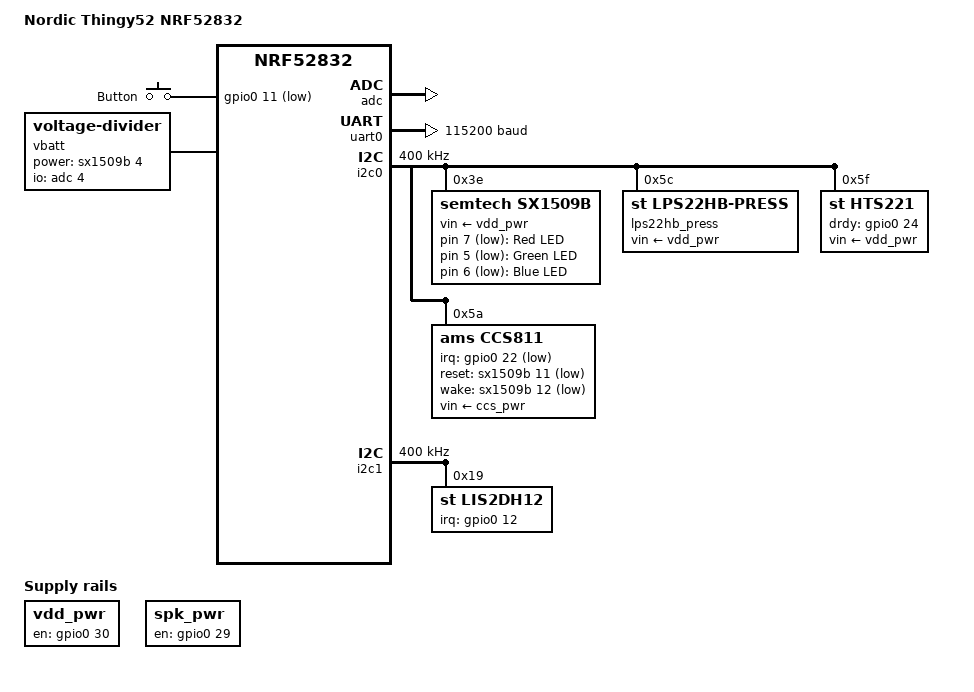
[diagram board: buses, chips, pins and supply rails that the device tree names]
/*
 * Copyright (c) 2017 Shawn Nock <shawn@monadnock.ca>
 * Copyright (c) 2017 Linaro Limited
 * Copyright (c) 2018 Aapo Vienamo
 *
 * SPDX-License-Identifier: Apache-2.0
 */

/dts-v1/;
#include <nordic/nrf52832_qfaa.dtsi>
#include "thingy52_nrf52832-pinctrl.dtsi"

/ {
	model = "Nordic Thingy52 NRF52832";
	compatible = "nordic,thingy52-nrf52832";

	chosen {
		zephyr,console = &uart0;
		zephyr,shell-uart = &uart0;
		zephyr,bt-mon-uart = &uart0;
		zephyr,bt-c2h-uart = &uart0;
		zephyr,sram = &sram0;
		zephyr,flash = &flash0;
		zephyr,code-partition = &slot0_partition;
	};

	/* These aliases are provided for compatibility with samples */
	aliases {
		led0 = &led0;
		led1 = &led1;
		led2 = &led2;
		sw0 = &button0;
		watchdog0 = &wdt0;
		accel0 = &lis2dh12;
	};

	leds {
		compatible = "gpio-leds";
		/* Lightwell RGB */
		led0: led_0 {
			gpios = <&sx1509b 7 GPIO_ACTIVE_LOW>;
			label = "Red LED";
			//vin-supply = <&vdd_pwr>;
		};
		led1: led_1 {
			gpios = <&sx1509b 5 GPIO_ACTIVE_LOW>;
			label = "Green LED";
			//vin-supply = <&vdd_pwr>;
		};
		led2: led_2 {
			gpios = <&sx1509b 6 GPIO_ACTIVE_LOW>;
			label = "Blue LED";
			//vin-supply = <&vdd_pwr>;
		};
	};

	buttons {
		compatible = "gpio-keys";
		button0: button_0 {
			/* gpio flags need validation */
			gpios = <&gpio0 11 (GPIO_PULL_UP | GPIO_ACTIVE_LOW)>;
			label = "Button";
		};
	};

	vbatt {
		compatible = "voltage-divider";
		io-channels = <&adc 4>;
		output-ohms = <180000>;
		full-ohms = <(1500000 + 180000)>;
		power-gpios = <&sx1509b 4 0>;
	};

	vdd_pwr: vdd-pwr-ctrl {
		compatible = "regulator-fixed-sync", "regulator-fixed";
		regulator-name = "vdd-pwr-ctrl";
		enable-gpios = <&gpio0 30 GPIO_ACTIVE_HIGH>;
		regulator-boot-on;
		startup-delay-us = <1000>;
	};

	spk_pwr: spk-pwr-ctrl {
		compatible = "regulator-fixed-sync", "regulator-fixed";
		regulator-name = "spk-pwr-ctrl";
		enable-gpios = <&gpio0 29 GPIO_ACTIVE_HIGH>;
	};

	mpu_pwr: mpu-pwr-ctrl {
		compatible = "regulator-fixed";
		regulator-name = "mpu-pwr-ctrl";
		enable-gpios = <&sx1509b 8 GPIO_ACTIVE_HIGH>;
		status = "disabled";
	};

	mic_pwr: mic-pwr-ctrl {
		compatible = "regulator-fixed";
		regulator-name = "mic-pwr-ctrl";
		enable-gpios = <&sx1509b 9 GPIO_ACTIVE_HIGH>;
		status = "disabled";
	};

	ccs_pwr: ccs-pwr-ctrl {
		compatible = "regulator-fixed";
		regulator-name = "ccs-pwr-ctrl";
		enable-gpios = <&sx1509b 10 GPIO_ACTIVE_HIGH>;
		status = "disabled";
	};
};

&adc {
	status = "okay";
};

&gpiote {
	status = "okay";
};

&gpio0 {
	status = "okay";
};

&uart0 {
	compatible = "nordic,nrf-uarte";
	status = "okay";
	current-speed = <115200>;
	pinctrl-0 = <&uart0_default>;
	pinctrl-1 = <&uart0_sleep>;
	pinctrl-names = "default", "sleep";
};

&i2c0 {
	compatible = "nordic,nrf-twim";
	status = "okay";
	clock-frequency = <I2C_BITRATE_FAST>;

	pinctrl-0 = <&i2c0_default>;
	pinctrl-1 = <&i2c0_sleep>;
	pinctrl-names = "default", "sleep";
	sx1509b: sx1509b@3e {
		compatible = "semtech,sx1509b";
		reg = <0x3e>;
		vin-supply = <&vdd_pwr>;
		gpio-controller;
		#gpio-cells = <2>;
		ngpios = <16>;
		/* Active-low LEDs init high, all else init low */
		init-out-high = <0xe0e0>;
		init-out-low = <0x1f1f>;
	};

	lps22hb_press: lps22hb_press@5c {
		compatible = "st,lps22hb-press";
		reg = <0x5c>;
		vin-supply = <&vdd_pwr>;
	};

	hts221: hts221@5f {
		compatible = "st,hts221";
		reg = <0x5f>;
		vin-supply = <&vdd_pwr>;
		drdy-gpios = <&gpio0 24 GPIO_ACTIVE_HIGH>;
	};

	ccs811: ccs811@5a {
		compatible = "ams,ccs811";
		reg = <0x5a>;
		vin-supply = <&ccs_pwr>;
		irq-gpios = <&gpio0 22 GPIO_ACTIVE_LOW>;
		reset-gpios = <&sx1509b 11 GPIO_ACTIVE_LOW>;
		wake-gpios = <&sx1509b 12 GPIO_ACTIVE_LOW>;
	};
};

&i2c1 {
	compatible = "nordic,nrf-twim";
	status = "okay";
	clock-frequency = <I2C_BITRATE_FAST>;

	pinctrl-0 = <&i2c1_default>;
	pinctrl-1 = <&i2c1_sleep>;
	pinctrl-names = "default", "sleep";
	lis2dh12: lis2dh12@19 {
		compatible = "st,lis2dh12", "st,lis2dh";
		reg = <0x19>;
		irq-gpios = <&gpio0 12 GPIO_ACTIVE_HIGH>;
	};
};

&flash0 {
	partitions {
		compatible = "fixed-partitions";
		#address-cells = <1>;
		#size-cells = <1>;

		boot_partition: partition@0 {
			label = "mcuboot";
			reg = <0x00000000 0xc000>;
		};
		slot0_partition: partition@c000 {
			label = "image-0";
			reg = <0x0000C000 0x32000>;
		};
		slot1_partition: partition@3e000 {
			label = "image-1";
			reg = <0x0003E000 0x32000>;
		};
		scratch_partition: partition@70000 {
			label = "image-scratch";
			reg = <0x00070000 0xa000>;
		};

		/*
		 * The flash starting at 0x0007a000 and ending at
		 * 0x0007ffff (sectors 122-127) is reserved for use
		 * by the application.
		 * Storage partition will be used by FCB/LittleFS/NVS
		 * if enabled.
		 */
		storage_partition: partition@7a000 {
			label = "storage";
			reg = <0x0007a000 0x00006000>;
		};
	};
};
